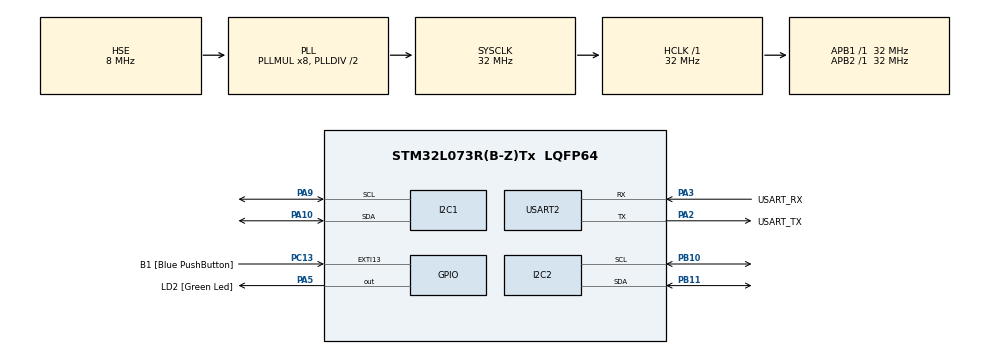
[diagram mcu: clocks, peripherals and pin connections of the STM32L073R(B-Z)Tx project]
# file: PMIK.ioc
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I2C1.Timing=0x00707CBB
I2C2.Timing=0x00707CBB
Mcu.Family=STM32L0
Mcu.Name=STM32L073R(B-Z)Tx
Mcu.Package=LQFP64
NVIC.TIM6_DAC_IRQn=true\:0\:0\:false\:false\:true\:true\:true\:true
NVIC.USART2_IRQn=true\:0\:0\:false\:false\:true\:true\:true\:true
PA10.Mode=I2C
PA10.Signal=I2C1_SDA
PA13.GPIO_Label=TMS
PA13.Mode=Serial_Wire
PA13.Signal=SYS_SWDIO
PA14.GPIO_Label=TCK
PA14.Mode=Serial_Wire
PA14.Signal=SYS_SWCLK
PA2.GPIO_Label=USART_TX
PA2.Mode=Asynchronous
PA2.Signal=USART2_TX
PA3.GPIO_Label=USART_RX
PA3.Mode=Asynchronous
PA3.Signal=USART2_RX
PA5.GPIO_Label=LD2 [Green Led]
PA5.Signal=GPIO_Output
PA9.Mode=I2C
PA9.Signal=I2C1_SCL
PB10.Mode=I2C
PB10.Signal=I2C2_SCL
PB11.Mode=I2C
PB11.Signal=I2C2_SDA
PC13.GPIO_Label=B1 [Blue PushButton]
PC13.GPIO_ModeDefaultEXTI=GPIO_MODE_IT_FALLING
PC13.Signal=GPXTI13
PC14-OSC32_IN.Mode=LSE-External-Oscillator
PC14-OSC32_IN.Signal=RCC_OSC32_IN
PC15-OSC32_OUT.Mode=LSE-External-Oscillator
PC15-OSC32_OUT.Signal=RCC_OSC32_OUT
PH0-OSC_IN.GPIO_Label=MCO
PH0-OSC_IN.Mode=HSE-External-Clock-Source
PH0-OSC_IN.Signal=RCC_OSC_IN
ProjectManager.HeapSize=0x200
ProjectManager.StackSize=0x400
ProjectManager.TargetToolchain=STM32CubeIDE
RCC.AHBFreq_Value=32000000
RCC.APB1Freq_Value=32000000
RCC.APB1TimFreq_Value=32000000
RCC.APB2Freq_Value=32000000
RCC.APB2TimFreq_Value=32000000
RCC.HCLKFreq_Value=32000000
RCC.HSE_VALUE=8000000
RCC.HSI16_VALUE=16000000
RCC.HSI48_VALUE=48000000
RCC.HSI_VALUE=16000000
RCC.MSI_VALUE=2097000
RCC.PLLMUL=RCC_PLLMUL_8
RCC.PLLSourceVirtual=RCC_PLLSOURCE_HSE
RCC.SYSCLKFreq_VALUE=32000000
RCC.SYSCLKSource=RCC_SYSCLKSOURCE_PLLCLK
RCC.VCOOutputFreq_Value=64000000
TIM2.Period=0xffff-1
TIM2.Prescaler=31999
TIM6.AutoReloadPreload=TIM_AUTORELOAD_PRELOAD_ENABLE
TIM6.Period=9999
TIM6.Prescaler=3199
USART2.VirtualMode-Asynchronous=VM_ASYNC
VP_TIM2_VS_ClockSourceINT.Mode=Internal
VP_TIM6_VS_ClockSourceINT.Mode=Enable_Timer
board=NUCLEO-L073RZ

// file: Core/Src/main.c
/* USER CODE BEGIN Header */
/*
 *      Author: Kacper Kowalski, Filip Podkoński
 *      Funckje: BME280_init() funkcja inicjalizujaca czujnik BME280
 *      		 get_temperature(); funckcja odczytująca temperature z czujnika
 *				 get_pressure(); funckcja odczytująca ciśnienie z czujnika
 *				 get_humidity(); funckcja odczytująca wilgotność z czujnika
 *				 print_temperature(); funkcja wyświetlajca temperature
 *				 print_pressure(); funkcja wyświetlajca ciśnienie
 *				 print_humidity(); funkcja wyświetlajca wilgotność
 *      		 void lcd_init(struct lcd_disp * lcd) funkcja inicjalizujaca wyświetlacz lcd
 *      		 void lcd_display(struct lcd_disp * lcd) funkcja wyświetlajaca dane wyświetlaczu lcd
 *
 *
 *
 *
 *
 */
/**
  ******************************************************************************
  * @file           : main.c
  * @brief          : Main program body
  ******************************************************************************
  * @attention
  *
  * Copyright (c) 2023 STMicroelectronics.
  * All rights reserved.
  *
  * This software is licensed under terms that can be found in the LICENSE file
  * in the root directory of this software component.
  * If no LICENSE file comes with this software, it is provided AS-IS.
  *
  ******************************************************************************
  */
/* USER CODE END Header */
#include "main.h"
#include "i2c.h"
#include "tim.h"
#include "usart.h"
#include "gpio.h"

/* USER CODE BEGIN Includes */
#include "bme280_add.h"
#include"bme280_defs.h"

/* USER CODE END Includes */

/* USER CODE BEGIN PV */
uint8_t uartData;
/* USER CODE END PV */

void SystemClock_Config(void);

int main(void)
{

  /* MCU Configuration--------------------------------------------------------*/

  /* Reset of all peripherals, Initializes the Flash interface and the Systick. */
  HAL_Init();

  /* Configure the system clock */
  SystemClock_Config();

  /* Initialize all configured peripherals */
  MX_GPIO_Init();
  MX_USART2_UART_Init();
  MX_I2C1_Init();
  MX_I2C2_Init();
  MX_TIM2_Init();
  MX_TIM6_Init();
  /* USER CODE BEGIN 2 */
  MX_GPIO_Init();
  MX_USART2_UART_Init();
  MX_I2C1_Init();

  HAL_TIM_Base_Start(&htim2);
  HAL_TIM_Base_Start_IT(&htim6);

  HAL_UART_Receive_IT(&huart2, &uartData, 1);

  /* Sprawdzenie czy czujnik poprawnie się zainicjalizował */
  if(BME280_init()!=BME280_OK) {
  printf("error init\n");
  }
  /* USER CODE END 2 */

  /* Infinite loop */
  while (1)
  {

  }
}

void SystemClock_Config(void)
{
  RCC_OscInitTypeDef RCC_OscInitStruct = {0};
  RCC_ClkInitTypeDef RCC_ClkInitStruct = {0};
  RCC_PeriphCLKInitTypeDef PeriphClkInit = {0};

  /** Configure the main internal regulator output voltage
  */
  __HAL_PWR_VOLTAGESCALING_CONFIG(PWR_REGULATOR_VOLTAGE_SCALE1);

  /** Initializes the RCC Oscillators according to the specified parameters
  * in the RCC_OscInitTypeDef structure.
  */
  RCC_OscInitStruct.OscillatorType = RCC_OSCILLATORTYPE_HSE;
  RCC_OscInitStruct.HSEState = RCC_HSE_BYPASS;
  RCC_OscInitStruct.PLL.PLLState = RCC_PLL_ON;
  RCC_OscInitStruct.PLL.PLLSource = RCC_PLLSOURCE_HSE;
  RCC_OscInitStruct.PLL.PLLMUL = RCC_PLLMUL_8;
  RCC_OscInitStruct.PLL.PLLDIV = RCC_PLLDIV_2;
  if (HAL_RCC_OscConfig(&RCC_OscInitStruct) != HAL_OK)
  {
    Error_Handler();
  }

  /** Initializes the CPU, AHB and APB buses clocks
  */
  RCC_ClkInitStruct.ClockType = RCC_CLOCKTYPE_HCLK|RCC_CLOCKTYPE_SYSCLK
                              |RCC_CLOCKTYPE_PCLK1|RCC_CLOCKTYPE_PCLK2;
  RCC_ClkInitStruct.SYSCLKSource = RCC_SYSCLKSOURCE_PLLCLK;
  RCC_ClkInitStruct.AHBCLKDivider = RCC_SYSCLK_DIV1;
  RCC_ClkInitStruct.APB1CLKDivider = RCC_HCLK_DIV1;
  RCC_ClkInitStruct.APB2CLKDivider = RCC_HCLK_DIV1;

  if (HAL_RCC_ClockConfig(&RCC_ClkInitStruct, FLASH_LATENCY_1) != HAL_OK)
  {
    Error_Handler();
  }
  PeriphClkInit.PeriphClockSelection = RCC_PERIPHCLK_USART2|RCC_PERIPHCLK_I2C1;
  PeriphClkInit.Usart2ClockSelection = RCC_USART2CLKSOURCE_PCLK1;
  PeriphClkInit.I2c1ClockSelection = RCC_I2C1CLKSOURCE_PCLK1;
  if (HAL_RCCEx_PeriphCLKConfig(&PeriphClkInit) != HAL_OK)
  {
    Error_Handler();
  }
}

/* USER CODE BEGIN 4 */

/* Funkcja z pomocą której co sekunde odczytujemy dane z czujnika */
void HAL_TIM_PeriodElapsedCallback(TIM_HandleTypeDef *htim)
{
	if(htim->Instance == TIM6)
	{
		get_temperature();
		get_pressure();
		get_humidity();

	}
}

/* Funkcja z pomocą w zależnośći od wysłanego znaku przez uart wyświetla się średnia wartość np. tempertaury z ostatnich 10 sekund */
void HAL_UART_RxCpltCallback(UART_HandleTypeDef *huart)
{
	if(huart->Instance == USART2)
	{
		if(uartData == 't')
		{
			print_temperature();
		}
		else if(uartData == 'p')
		{
			print_pressure();
		}
		else if(uartData == 'h')
		{
			print_humidity();
		}
		else
		{
			printf("zly znak");
		}

		HAL_UART_Receive_IT(&huart2, &uartData, 1);
	}
}

/* USER CODE END 4 */

void Error_Handler(void)
{
  __disable_irq();
  while (1)
  {
  }
}
